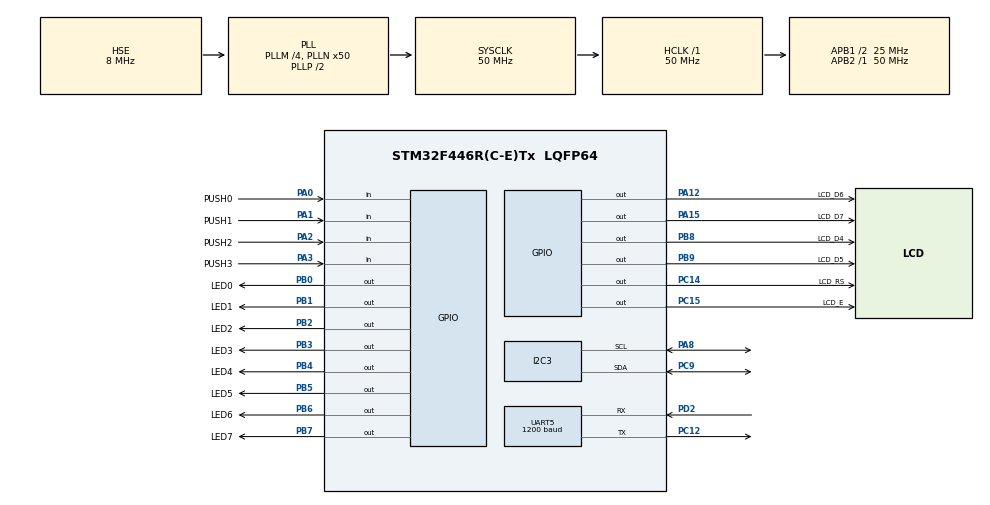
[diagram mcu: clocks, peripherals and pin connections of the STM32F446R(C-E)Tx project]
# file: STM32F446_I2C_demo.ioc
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Mcu.Family=STM32F4
Mcu.Name=STM32F446R(C-E)Tx
Mcu.Package=LQFP64
NVIC.PriorityGroup=NVIC_PRIORITYGROUP_4
NVIC.UART5_IRQn=true\:0\:0\:false\:false\:true\:true\:true\:true
PA0-WKUP.GPIO_Label=PUSH0
PA0-WKUP.GPIO_PuPd=GPIO_PULLUP
PA0-WKUP.Signal=GPIO_Input
PA1.GPIO_Label=PUSH1
PA1.GPIO_PuPd=GPIO_PULLUP
PA1.Signal=GPIO_Input
PA12.GPIO_Label=LCD_D6
PA12.Signal=GPIO_Output
PA13.Mode=Serial_Wire
PA13.Signal=SYS_JTMS-SWDIO
PA14.Mode=Serial_Wire
PA14.Signal=SYS_JTCK-SWCLK
PA15.GPIO_Label=LCD_D7
PA15.Signal=GPIO_Output
PA2.GPIO_Label=PUSH2
PA2.GPIO_PuPd=GPIO_PULLUP
PA2.Signal=GPIO_Input
PA3.GPIO_Label=PUSH3
PA3.GPIO_PuPd=GPIO_PULLUP
PA3.Signal=GPIO_Input
PA8.Mode=I2C
PA8.Signal=I2C3_SCL
PB0.GPIO_Label=LED0
PB0.Signal=GPIO_Output
PB1.GPIO_Label=LED1
PB1.Signal=GPIO_Output
PB2.GPIO_Label=LED2
PB2.Signal=GPIO_Output
PB3.GPIO_Label=LED3
PB3.Signal=GPIO_Output
PB4.GPIO_Label=LED4
PB4.Signal=GPIO_Output
PB5.GPIO_Label=LED5
PB5.Signal=GPIO_Output
PB6.GPIO_Label=LED6
PB6.Signal=GPIO_Output
PB7.GPIO_Label=LED7
PB7.Signal=GPIO_Output
PB8.GPIO_Label=LCD_D4
PB8.Signal=GPIO_Output
PB9.GPIO_Label=LCD_D5
PB9.Signal=GPIO_Output
PC12.Mode=Asynchronous
PC12.Signal=UART5_TX
PC14-OSC32_IN.GPIO_Label=LCD_RS
PC14-OSC32_IN.Signal=GPIO_Output
PC15-OSC32_OUT.GPIO_Label=LCD_E
PC15-OSC32_OUT.Signal=GPIO_Output
PC9.Mode=I2C
PC9.Signal=I2C3_SDA
PD2.Mode=Asynchronous
PD2.Signal=UART5_RX
PH0-OSC_IN.Mode=HSE-External-Oscillator
PH0-OSC_IN.Signal=RCC_OSC_IN
PH1-OSC_OUT.Mode=HSE-External-Oscillator
PH1-OSC_OUT.Signal=RCC_OSC_OUT
ProjectManager.HeapSize=0x200
ProjectManager.StackSize=0x400
ProjectManager.TargetToolchain=Makefile
RCC.AHBFreq_Value=50000000
RCC.APB1CLKDivider=RCC_HCLK_DIV2
RCC.APB1Freq_Value=25000000
RCC.APB1TimFreq_Value=50000000
RCC.APB2Freq_Value=50000000
RCC.APB2TimFreq_Value=50000000
RCC.CortexFreq_Value=50000000
RCC.HCLKFreq_Value=50000000
RCC.HSE_VALUE=8000000
RCC.PLLM=4
RCC.PLLN=50
RCC.PLLSourceVirtual=RCC_PLLSOURCE_HSE
RCC.SYSCLKFreq_VALUE=50000000
RCC.SYSCLKSource=RCC_SYSCLKSOURCE_PLLCLK
RCC.USBFreq_Value=50000000
RCC.VCOOutputFreq_Value=100000000
UART5.BaudRate=1200
UART5.VirtualMode=Asynchronous
board=custom

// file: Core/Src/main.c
/* USER CODE BEGIN Header */
/**
  ******************************************************************************
  * @file           : main.c
  * @brief          : Main program body
  ******************************************************************************
  * @attention
  *
  * Copyright (c) 2024 STMicroelectronics.
  * All rights reserved.
  *
  * This software is licensed under terms that can be found in the LICENSE file
  * in the root directory of this software component.
  * If no LICENSE file comes with this software, it is provided AS-IS.
  *
  ******************************************************************************
  */
/* USER CODE END Header */
#include "main.h"
#include "i2c.h"
#include "usart.h"
#include "gpio.h"

/* USER CODE BEGIN Includes */
#include "lcd_stm32f0.h"
/* USER CODE END Includes */

/* USER CODE BEGIN PTD */
#define TX_START  73
#define TX_END    5

#define DEVICE_ID 0

#define LOOP_MOD 10
/* USER CODE END PTD */

/* USER CODE BEGIN PV */
uint8_t led_val = 0;
uint16_t delay_ms = 100;

uint8_t sensor_id = 0;
uint16_t value = 'h';
uint16_t heartbeat = 0;

uint8_t data_bf[7];

char line_one[25];
char line_two[25];

uint8_t crc = 12;
uint8_t cnt = 0;
/* USER CODE END PV */

void SystemClock_Config(void);

int main(void)
{

  /* MCU Configuration--------------------------------------------------------*/

  /* Reset of all peripherals, Initializes the Flash interface and the Systick. */
  HAL_Init();

  /* Configure the system clock */
  SystemClock_Config();

  /* Initialize all configured peripherals */
  MX_GPIO_Init();
  MX_I2C3_Init();
  MX_UART5_Init();
  /* USER CODE BEGIN 2 */
  init_LCD_pins();
  init_LCD();
  HAL_Delay(10);

  update_lcd();

  /* USER CODE END 2 */

  /* Infinite loop */
  /* USER CODE BEGIN WHILE */
  while (1)
  {
    HAL_Delay(delay_ms);
    if(cnt%LOOP_MOD==0){
      led_val++;
      heartbeat++;
      update_lcd();
      update_leds();
      cnt = 0;
    }
    cnt++;
    /* USER CODE END WHILE */

    /* USER CODE BEGIN 3 */
    if(HAL_GPIO_ReadPin(PUSH0_GPIO_Port,PUSH0_Pin)==0) {
      tx_packet();
      heartbeat = 0;
      sensor_id = cnt;
      value = cnt*6/4;
    }
  }
  /* USER CODE END 3 */
}

void SystemClock_Config(void)
{
  RCC_OscInitTypeDef RCC_OscInitStruct = {0};
  RCC_ClkInitTypeDef RCC_ClkInitStruct = {0};

  /** Configure the main internal regulator output voltage
  */
  __HAL_RCC_PWR_CLK_ENABLE();
  __HAL_PWR_VOLTAGESCALING_CONFIG(PWR_REGULATOR_VOLTAGE_SCALE3);

  /** Initializes the RCC Oscillators according to the specified parameters
  * in the RCC_OscInitTypeDef structure.
  */
  RCC_OscInitStruct.OscillatorType = RCC_OSCILLATORTYPE_HSE;
  RCC_OscInitStruct.HSEState = RCC_HSE_ON;
  RCC_OscInitStruct.PLL.PLLState = RCC_PLL_ON;
  RCC_OscInitStruct.PLL.PLLSource = RCC_PLLSOURCE_HSE;
  RCC_OscInitStruct.PLL.PLLM = 4;
  RCC_OscInitStruct.PLL.PLLN = 50;
  RCC_OscInitStruct.PLL.PLLP = RCC_PLLP_DIV2;
  RCC_OscInitStruct.PLL.PLLQ = 2;
  RCC_OscInitStruct.PLL.PLLR = 2;
  if (HAL_RCC_OscConfig(&RCC_OscInitStruct) != HAL_OK)
  {
    Error_Handler();
  }

  /** Initializes the CPU, AHB and APB buses clocks
  */
  RCC_ClkInitStruct.ClockType = RCC_CLOCKTYPE_HCLK|RCC_CLOCKTYPE_SYSCLK
                              |RCC_CLOCKTYPE_PCLK1|RCC_CLOCKTYPE_PCLK2;
  RCC_ClkInitStruct.SYSCLKSource = RCC_SYSCLKSOURCE_PLLCLK;
  RCC_ClkInitStruct.AHBCLKDivider = RCC_SYSCLK_DIV1;
  RCC_ClkInitStruct.APB1CLKDivider = RCC_HCLK_DIV2;
  RCC_ClkInitStruct.APB2CLKDivider = RCC_HCLK_DIV1;

  if (HAL_RCC_ClockConfig(&RCC_ClkInitStruct, FLASH_LATENCY_1) != HAL_OK)
  {
    Error_Handler();
  }
}

/* USER CODE BEGIN 4 */

void tx_packet(void) {
data_bf[0] = TX_START;
data_bf[1] = DEVICE_ID;
data_bf[2] = sensor_id;
data_bf[3] = value>>8;
data_bf[4] = value;
data_bf[5] = data_bf[2]+data_bf[3]+data_bf[4];
data_bf[6] = TX_END;
HAL_UART_Transmit(&huart5,&data_bf,7,100);
}

void update_lcd() {
  sprintf(line_one, "nD_ID:%d pTx:%d     ",DEVICE_ID,heartbeat);
  sprintf(line_two, "nS_ID:%d Val:%d     ", sensor_id, value);
  line_one[16] = 0;
  line_two[16] = 0;
  lcd_command(CURSOR_HOME);
  lcd_putstring(line_one);
  lcd_command(LINE_TWO);
  lcd_putstring(line_two);
}

void update_leds() {
  GPIOB->ODR = led_val;
}

//UART 5 receive complete callback
void HAL_UART_RxCpltCallback(UART_HandleTypeDef *huart)
{

	HAL_GPIO_TogglePin(LED7_GPIO_Port,LED7_Pin);
	//HAL_UART_Receive_IT(&huart5,&value,1); //start next data receive interrupt
}
/* USER CODE END 4 */

void Error_Handler(void)
{
  __disable_irq();
  while (1)
  {
  }
}
